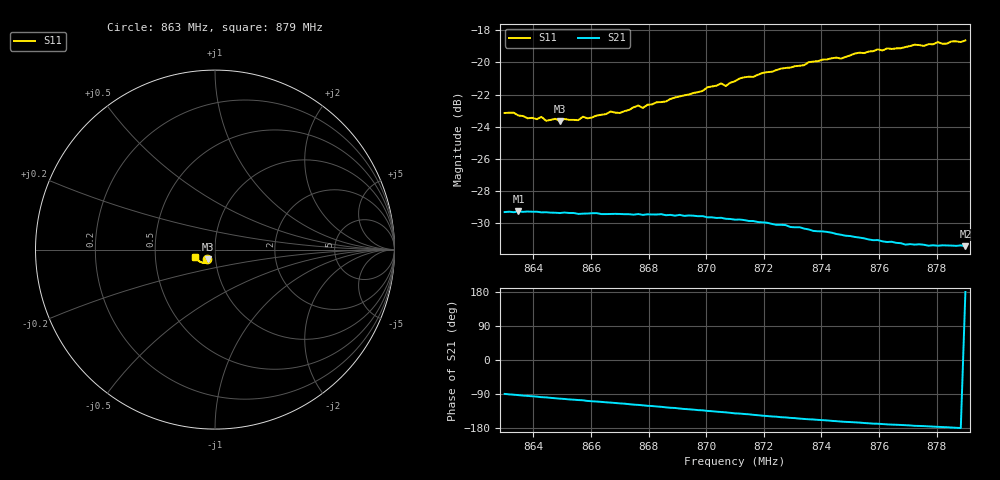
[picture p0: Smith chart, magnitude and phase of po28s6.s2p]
# HZ S RI R 50
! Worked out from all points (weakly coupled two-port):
!   101 points, 863 MHz to 879 MHz, reference 50 ohm
!   highest |S21| = -29.28 dB at 863.48 MHz (marker M1); lowest = -31.4 dB at 879 MHz (marker M2)
!   lowest |S11| = -23.7 dB at 864.92 MHz (marker M3), VSWR 1.14, Z = 46.1 - j4.98 ohm
!   |S11| at or under -10 dB: start of sweep to end of sweep
!   S12 and S22 are empty: the file has one direction only
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8.63e8  -0.0445 -0.0535  0.000297 -0.0342  0 0  0 0
8.6332e8  -0.0431 -0.0547  -0.000953 -0.0341  0 0  0 0
8.6348e8  -0.0421 -0.0538  -0.00162 -0.0343  0 0  0 0
8.6492e8  -0.0376 -0.0537  -0.00707 -0.0332  0 0  0 0
8.6508e8  -0.0364 -0.0559  -0.00754 -0.0332  0 0  0 0
8.6556e8  -0.0357 -0.0556  -0.0091 -0.0325  0 0  0 0
8.6572e8  -0.0351 -0.058  -0.00951 -0.0324  0 0  0 0
8.6588e8  -0.0378 -0.0553  -0.0105 -0.0322  0 0  0 0
8.6668e8  -0.0349 -0.0611  -0.0129 -0.0312  0 0  0 0
8.67e8  -0.035 -0.0602  -0.014 -0.0307  0 0  0 0
8.6764e8  -0.0366 -0.0637  -0.0161 -0.0296  0 0  0 0
8.678e8  -0.0355 -0.0629  -0.0165 -0.0291  0 0  0 0
8.6844e8  -0.0369 -0.0656  -0.0186 -0.0281  0 0  0 0
8.7052e8  -0.0462 -0.0726  -0.0241 -0.0223  0 0  0 0
8.7068e8  -0.0454 -0.0712  -0.0243 -0.0217  0 0  0 0
8.71e8  -0.0481 -0.073  -0.0251 -0.0204  0 0  0 0
8.7372e8  -0.0686 -0.0736  -0.0275 -0.0117  0 0  0 0
8.7468e8  -0.0759 -0.0693  -0.0277 -0.00874  0 0  0 0
8.7596e8  -0.0887 -0.0649  -0.0274 -0.00572  0 0  0 0
8.7644e8  -0.0913 -0.0617  -0.0273 -0.00457  0 0  0 0
8.7692e8  -0.0954 -0.0581  -0.0268 -0.00376  0 0  0 0
8.79e8  -0.1101 -0.0399  -0.0268 0.000228  0 0  0 0
